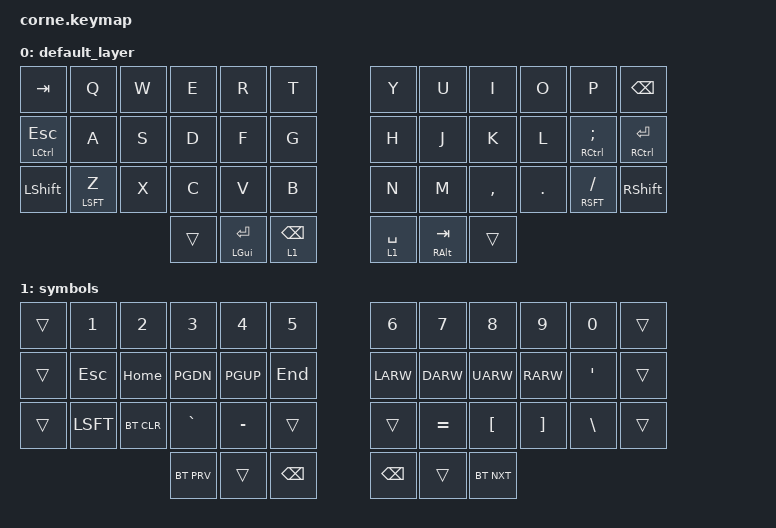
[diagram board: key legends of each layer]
#include <behaviors.dtsi>
#include <dt-bindings/zmk/keys.h>
#include <dt-bindings/zmk/bt.h>

&lt { quick_tap_ms = <200>; };

/ {
    keymap {
        compatible = "zmk,keymap";

        default_layer {
            bindings = <
&kp TAB           &kp Q &kp W &kp E &kp R &kp T     &kp Y &kp U  &kp I    &kp O   &kp P         &kp BSPC
&mt LCTL ESC      &kp A &kp S &kp D &kp F &kp G     &kp H &kp J  &kp K    &kp L   &mt RCTL SCLN &mt RCTL RET
&kp LSHFT    &mt LSFT Z &kp X &kp C &kp V &kp B     &kp N &kp M  &kp CMMA &kp DOT &mt RSFT FSLH &kp RSHFT
                 &trans &mt LGUI RET &lt 1 BKSP     &lt 1 SPC &mt RALT TAB &trans
            >;
        };

        symbols {
            bindings = <
&trans &kp NUM_1 &kp NUM_2 &kp NUM_3 &kp NUM_4 &kp NUM_5   &kp NUM_6 &kp NUM_7 &kp NUM_8 &kp NUM_9 &kp NUM_0 &trans
&trans &kp ESC &kp HOME &kp PGDN &kp PGUP &kp END      &kp LARW &kp DARW &kp UARW &kp RARW &kp QUOT &trans
&trans &kp LSFT &bt BT_CLR &kp GRAV &kp MINUS &trans      &trans &kp EQL &kp LBKT &kp RBKT &kp BSLH &trans
        &bt BT_PRV &trans &kp BKSP   &kp BKSP &trans &bt BT_NXT
            >;
        };
    };
};
